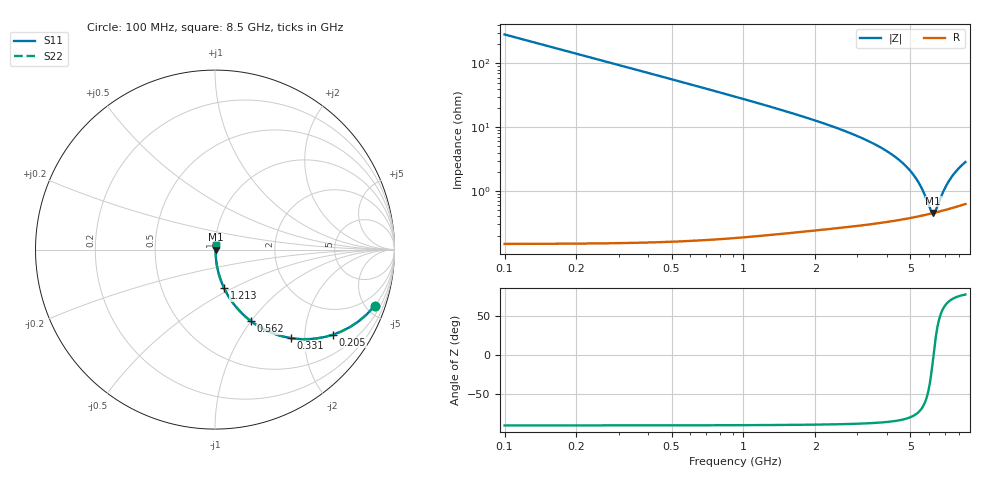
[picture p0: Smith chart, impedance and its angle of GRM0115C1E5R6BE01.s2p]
!Murata Part Number: GRM0115C1E5R6BE01
!These Parameters are Measured in Series Mode Connection
!Data Generated on Mar 30, 2021
!  o--ll--o
!Port1  Port2
!  o------o
!Operation Temp=25[degC], DC Bias Voltage=0[V]
!Freq. Start=100[MHz] Stop=9[GHz] 401[Steps]
# Hz S RI R 50
!Freq.(Hz) S11(Real) S11(Imag) S21(Real) S21(Imag) S12(Real) S12(Imag) S22(Real) S22(Imag)
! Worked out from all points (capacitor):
!   401 points, 100 MHz to 8.5 GHz, reference 50 ohm
!   read as one part in series: C = 5.6 pF near 142 MHz
!   lowest |Z| = 451 mohm at 6.232 GHz (marker M1)
!   series resonance near 6.251 GHz, so ESL is about 120 pH
!   S11 on the Smith chart (normalised r, x): 100 MHz: 1.00, -5.68; 205 MHz: 1.00, -2.77; 331 MHz: 1.00, -1.71; 562 MHz: 1.00, -1.00; 1.213 GHz: 1.00, -0.45; 8.5 GHz: 1.01, +0.06
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1e8  0.8897 -0.3131  0.1103 0.3131  0.1103 0.3131  0.8897 -0.3131
1.42e8  0.7999 -0.3997  0.2001 0.3997  0.2001 0.3997  0.7999 -0.3997
2.05e8  0.6571 -0.4741  0.3429 0.4741  0.3429 0.4741  0.6571 -0.4741
2.68e8  0.5283 -0.4985  0.4717 0.4985  0.4717 0.4985  0.5283 -0.4985
3.31e8  0.423 -0.4931  0.577 0.4931  0.577 0.4931  0.423 -0.4931
4.36e8  0.2964 -0.4555  0.7036 0.4555  0.7036 0.4555  0.2964 -0.4555
5.62e8  0.2016 -0.3996  0.7984 0.3996  0.7984 0.3996  0.2016 -0.3996
8.14e8  0.1064 -0.3057  0.8936 0.3057  0.8936 0.3057  0.1064 -0.3057
1.213e9  0.0499 -0.2133  0.9501 0.2133  0.9501 0.2133  0.0499 -0.2133
1.507e9  0.0323 -0.1709  0.9677 0.1709  0.9677 0.1709  0.0323 -0.1709
2.914e9  0.00846 -0.075  0.9915 0.075  0.9915 0.075  0.00846 -0.075
4.3e9  0.00457 -0.0342  0.9954 0.0342  0.9954 0.0342  0.00457 -0.0342
5.119e9  0.00414 -0.0179  0.9959 0.0179  0.9959 0.0179  0.00414 -0.0179
5.434e9  0.00415 -0.0125  0.9959 0.0125  0.9959 0.0125  0.00415 -0.0125
5.707e9  0.00422 -0.00811  0.9958 0.00811  0.9958 0.00811  0.00422 -0.00811
6.064e9  0.00438 -0.0027  0.9956 0.0027  0.9956 0.0027  0.00438 -0.0027
6.232e9  0.00448 -0.000265  0.9955 0.000265  0.9955 0.000265  0.00448 -0.000265
6.379e9  0.00458 0.00181  0.9954 -0.00181  0.9954 -0.00181  0.00458 0.00181
6.799e9  0.00492 0.00746  0.9951 -0.00746  0.9951 -0.00746  0.00492 0.00746
7.114e9  0.00522 0.0115  0.9948 -0.0115  0.9948 -0.0115  0.00522 0.0115
7.723e9  0.00591 0.0188  0.9941 -0.0188  0.9941 -0.0188  0.00591 0.0188
8.5e9  0.00695 0.0274  0.9931 -0.0274  0.9931 -0.0274  0.00695 0.0274
